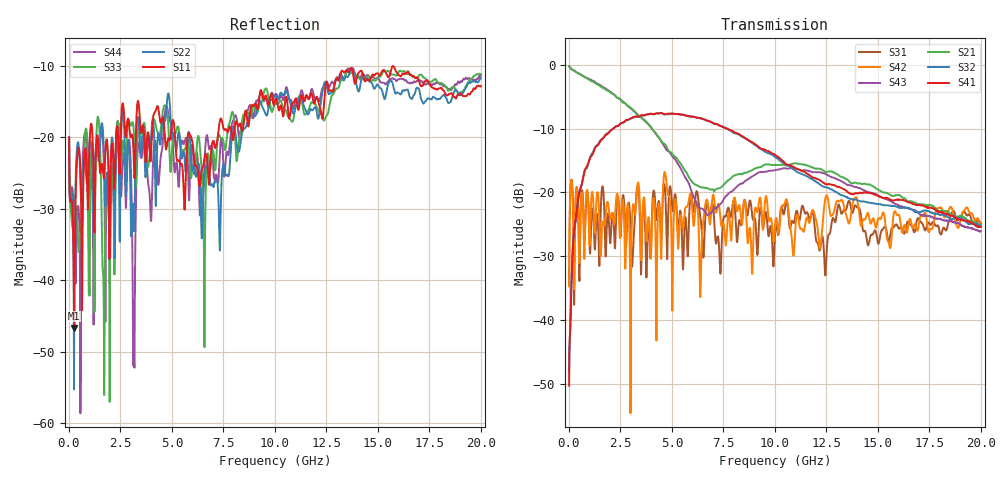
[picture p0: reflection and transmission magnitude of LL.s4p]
!Keysight Technologies,N5245A,MY56052327,A.10.47.06
!Date: Tuesday, January 19, 2021 16:35:26
!Correction: S11(Full 4 Port(1,2,3,4))
!S12(Full 4 Port(1,2,3,4))
!S13(Full 4 Port(1,2,3,4))
!S14(Full 4 Port(1,2,3,4))
!S21(Full 4 Port(1,2,3,4))
!S22(Full 4 Port(1,2,3,4))
!S23(Full 4 Port(1,2,3,4))
!S24(Full 4 Port(1,2,3,4))
!S31(Full 4 Port(1,2,3,4))
!S32(Full 4 Port(1,2,3,4))
!S33(Full 4 Port(1,2,3,4))
!S34(Full 4 Port(1,2,3,4))
!S41(Full 4 Port(1,2,3,4))
!S42(Full 4 Port(1,2,3,4))
!S43(Full 4 Port(1,2,3,4))
!S44(Full 4 Port(1,2,3,4))
!S4P File: Measurements: <S11,S12,S13,S14>,
!<S21,S22,S23,S24>,
!<S31,S32,S33,S34>,
!<S41,S42,S43,S44>:
# Hz S  dB  R 50
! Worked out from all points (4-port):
!   2000 points, 10 MHz to 20 GHz, reference 50 ohm
!   strongest paths, dB at 10 MHz, 5.01 GHz, 10.01 GHz, 15.01 GHz, 20 GHz:
!     S41: -50.3, -7.6, -14.1, -20.5, -25.4
!     S32: -48.1, -7.6, -14.4, -21.8, -25.3
!     S21: -0.2, -13.9, -15.7, -19.6, -25.1
!     S43: -0.2, -14.3, -16.5, -20.5, -26.0
!     S42: -34.7, -35.6, -25.0, -24.2, -25.1
!     S31: -34.4, -22.2, -26.4, -28.0, -24.9
!   lowest |S11| = -46.7 dB at 260 MHz (marker M1), VSWR 1.01, Z = 49.6 - j0.213 ohm
!   |S11| at or under -10 dB: start of sweep to end of sweep
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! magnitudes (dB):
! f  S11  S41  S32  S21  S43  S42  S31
! 10 MHz  -20.1  -50.3  -48.1  -0.2  -0.2  -34.7  -34.4
! 260 MHz  -46.7  -25.8  -25.9  -0.9  -0.9  -34.7  -37.5
! 2.37 GHz  -19.0  -9.6  -9.6  -5.2  -5.2  -20.5  -20.6
! 3.15 GHz  -23.3  -8.2  -8.3  -7.2  -7.2  -22.1  -26.8
! 3.39 GHz  -15.4  -8.1  -8.1  -8.0  -8.0  -18.9  -20.0
! 4.41 GHz  -17.4  -7.6  -7.6  -11.6  -11.6  -23.0  -22.7
! 20 GHz  -12.9  -25.4  -25.3  -25.1  -26.0  -25.1  -24.9
